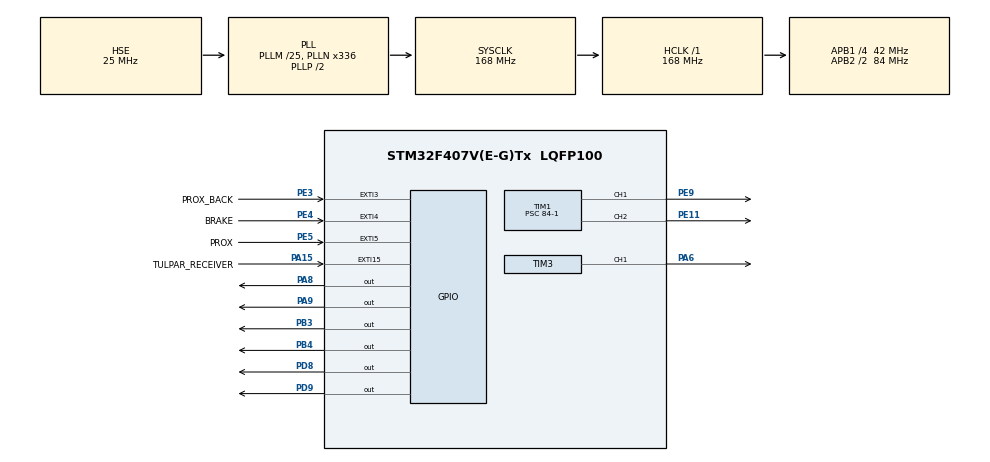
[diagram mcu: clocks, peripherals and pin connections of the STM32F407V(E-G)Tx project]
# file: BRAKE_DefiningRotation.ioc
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Mcu.Family=STM32F4
Mcu.Name=STM32F407V(E-G)Tx
Mcu.Package=LQFP100
NVIC.EXTI15_10_IRQn=true\:0\:0\:false\:false\:true\:true\:true\:true
NVIC.EXTI3_IRQn=true\:0\:0\:false\:false\:true\:true\:true\:true
NVIC.EXTI4_IRQn=true\:0\:0\:false\:false\:true\:true\:true\:true
NVIC.EXTI9_5_IRQn=true\:0\:0\:false\:false\:true\:true\:true\:true
NVIC.PriorityGroup=NVIC_PRIORITYGROUP_4
NVIC.RCC_IRQn=true\:0\:0\:false\:false\:true\:true\:false\:true
PA13.Mode=Serial_Wire
PA13.Signal=SYS_JTMS-SWDIO
PA14.Mode=Serial_Wire
PA14.Signal=SYS_JTCK-SWCLK
PA15.GPIO_Label=TULPAR_RECEIVER
PA15.GPIO_ModeDefaultEXTI=GPIO_MODE_IT_RISING_FALLING
PA15.GPIO_PuPd=GPIO_PULLUP
PA15.Signal=GPXTI15
PA6.Signal=S_TIM3_CH1
PA8.Signal=GPIO_Output
PA9.Signal=GPIO_Output
PB3.Signal=GPIO_Output
PB4.Signal=GPIO_Output
PC14-OSC32_IN.Mode=LSE-External-Oscillator
PC14-OSC32_IN.Signal=RCC_OSC32_IN
PC15-OSC32_OUT.Mode=LSE-External-Oscillator
PC15-OSC32_OUT.Signal=RCC_OSC32_OUT
PD8.Signal=GPIO_Output
PD9.Signal=GPIO_Output
PE11.Signal=S_TIM1_CH2
PE3.GPIO_Label=PROX_BACK
PE3.GPIO_ModeDefaultEXTI=GPIO_MODE_IT_RISING_FALLING
PE3.Signal=GPXTI3
PE4.GPIO_Label=BRAKE
PE4.GPIO_ModeDefaultEXTI=GPIO_MODE_IT_RISING_FALLING
PE4.GPIO_PuPd=GPIO_PULLUP
PE4.Signal=GPXTI4
PE5.GPIO_Label=PROX
PE5.GPIO_ModeDefaultEXTI=GPIO_MODE_IT_RISING_FALLING
PE5.Signal=GPXTI5
PE9.Signal=S_TIM1_CH1
PH0-OSC_IN.Mode=HSE-External-Oscillator
PH0-OSC_IN.Signal=RCC_OSC_IN
PH1-OSC_OUT.Mode=HSE-External-Oscillator
PH1-OSC_OUT.Signal=RCC_OSC_OUT
ProjectManager.HeapSize=0x200
ProjectManager.StackSize=0x400
ProjectManager.TargetToolchain=STM32CubeIDE
RCC.48MHZClocksFreq_Value=84000000
RCC.AHBFreq_Value=168000000
RCC.APB1CLKDivider=RCC_HCLK_DIV4
RCC.APB1Freq_Value=42000000
RCC.APB1TimFreq_Value=84000000
RCC.APB2CLKDivider=RCC_HCLK_DIV2
RCC.APB2Freq_Value=84000000
RCC.APB2TimFreq_Value=168000000
RCC.CortexFreq_Value=168000000
RCC.HCLKFreq_Value=168000000
RCC.HSE_VALUE=25000000
RCC.HSI_VALUE=16000000
RCC.PLLM=25
RCC.PLLN=336
RCC.PLLSourceVirtual=RCC_PLLSOURCE_HSE
RCC.SYSCLKFreq_VALUE=168000000
RCC.SYSCLKSource=RCC_SYSCLKSOURCE_PLLCLK
RCC.VCOOutputFreq_Value=336000000
SH.S_TIM1_CH1.0=TIM1_CH1,PWM Generation1 CH1
SH.S_TIM1_CH2.0=TIM1_CH2,PWM Generation2 CH2
SH.S_TIM3_CH1.0=TIM3_CH1,PWM Generation1 CH1
TIM1.Channel-PWM\ Generation1\ CH1=TIM_CHANNEL_1
TIM1.Channel-PWM\ Generation2\ CH2=TIM_CHANNEL_2
TIM1.Period=125-1
TIM1.Prescaler=84-1
TIM3.Channel-PWM\ Generation1\ CH1=TIM_CHANNEL_1
TIM3.Period=255-1
TIM3.Prescaler=20-1
VP_TIM1_VS_ClockSourceINT.Mode=Internal
VP_TIM2_VS_ClockSourceINT.Mode=Internal
VP_TIM3_VS_ClockSourceINT.Mode=Internal
VP_TIM4_VS_ClockSourceINT.Mode=Internal
VP_TIM5_VS_ClockSourceINT.Mode=Internal
board=custom

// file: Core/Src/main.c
/* USER CODE BEGIN Header */
/**
  ******************************************************************************
  * @file           : main.c
  * @brief          : Main program body
  ******************************************************************************
  * @attention
  *
  * Copyright (c) 2024 STMicroelectronics.
  * All rights reserved.
  *
  * This software is licensed under terms that can be found in the LICENSE file
  * in the root directory of this software component.
  * If no LICENSE file comes with this software, it is provided AS-IS.
  *
  ******************************************************************************
  */
/* USER CODE END Header */
#include "main.h"

TIM_HandleTypeDef htim1;
TIM_HandleTypeDef htim2;
TIM_HandleTypeDef htim3;
TIM_HandleTypeDef htim4;
TIM_HandleTypeDef htim5;

void SystemClock_Config(void);
static void MX_GPIO_Init(void);
static void MX_TIM1_Init(void);
static void MX_TIM3_Init(void);
static void MX_TIM2_Init(void);
static void MX_TIM5_Init(void);
static void MX_TIM4_Init(void);

/* USER CODE BEGIN 0 */
extern volatile uint32_t starttime;
extern volatile uint32_t endtime;
extern volatile uint32_t pulsewidth;
extern volatile uint32_t count;
extern volatile uint32_t command;
extern volatile uint16_t falling_detected;
uint32_t counter = 0;
extern volatile uint32_t signal;
extern volatile uint32_t falling_detected2;

extern volatile uint32_t starttime1;
extern volatile uint32_t endtime1;
extern volatile uint32_t pulsewidth1;
extern volatile uint32_t count1;
extern volatile int32_t dutycycle0;
extern volatile int32_t dutycycle1;
extern volatile int32_t dutycycle2;
volatile uint32_t  dutycyclenew1=0;
volatile uint32_t  dutycyclenew2=0;
volatile int AA=0;
volatile uint32_t pompa=0;
volatile uint32_t duty1=60;
volatile uint32_t duty2=60;

void motor_fonksiyonu(){

	 	if(dutycycle0<6298)// if the number that taken from remote controller is smaller than  6298
	 		{
	 			HAL_GPIO_WritePin(GPIOD, GPIO_PIN_9, ENABLE); //REWERSE ON
	 			HAL_GPIO_WritePin(GPIOD, GPIO_PIN_8, DISABLE);
	 			__HAL_TIM_SET_COMPARE(&htim3 ,TIM_CHANNEL_1,dutycyclenew1);
	 			counter++;
	 		}

	 	if(dutycycle0>6298)// if the number that taken from remote controller is bigger than  6298
	 		{
	 			HAL_GPIO_WritePin(GPIOD, GPIO_PIN_9, DISABLE);
	 			HAL_GPIO_WritePin(GPIOD, GPIO_PIN_8, ENABLE); //FORWARD ON
	 			__HAL_TIM_SET_COMPARE(&htim3,TIM_CHANNEL_1,dutycyclenew2);
	 			counter--;
	 		}
	 	if(dutycycle0==6298)// if the number that taken from remote controller is equal 6298
	 	{
	 		HAL_GPIO_WritePin(GPIOD, GPIO_PIN_9, DISABLE);// STOP
	 		 HAL_GPIO_WritePin(GPIOD, GPIO_PIN_8, DISABLE);
	 		__HAL_TIM_SET_COMPARE(&htim3,TIM_CHANNEL_1,dutycyclenew1);
		}
}

/* USER CODE END 0 */

int main(void)
{

  /* MCU Configuration--------------------------------------------------------*/

  /* Reset of all peripherals, Initializes the Flash interface and the Systick. */
  HAL_Init();

  /* Configure the system clock */
  SystemClock_Config();

  /* Initialize all configured peripherals */
  MX_GPIO_Init();
  MX_TIM1_Init();
  MX_TIM3_Init();
  MX_TIM2_Init();
  MX_TIM5_Init();
  MX_TIM4_Init();
  /* USER CODE BEGIN 2 */
HAL_TIM_Base_Start(&htim2);
HAL_TIM_Base_Start(&htim5);
HAL_TIM_PWM_Start(&htim1, TIM_CHANNEL_1);
HAL_TIM_PWM_Start(&htim1, TIM_CHANNEL_2);
HAL_TIM_PWM_Start(&htim3, TIM_CHANNEL_1);
HAL_GPIO_WritePin(GPIOB, GPIO_PIN_4, ENABLE);//enables the  brake driver
HAL_GPIO_WritePin(GPIOB, GPIO_PIN_3, ENABLE);//enables the  brake driver
HAL_GPIO_WritePin(GPIOD, GPIO_PIN_8,DISABLE);// TULPAR FORWARD ENABLE
HAL_GPIO_WritePin(GPIOD, GPIO_PIN_9,DISABLE);// TULPAR REVERSE ENABLE

  /* USER CODE END 2 */

  /* Infinite loop */
  while (1)
  {

    /* USER CODE BEGIN 3 */

		motor_fonksiyonu();
		AA=__HAL_TIM_GET_COMPARE(&htim3,TIM_CHANNEL_1);

		if(signal == 1){

				if(falling_detected==1){//if proximity reads an metal object
					while(1){

						__HAL_TIM_SET_COMPARE(&htim1, TIM_CHANNEL_1, 0);
						__HAL_TIM_SET_COMPARE(&htim1, TIM_CHANNEL_2, 0);
						AA=__HAL_TIM_GET_COMPARE(&htim3,TIM_CHANNEL_1);

						motor_fonksiyonu();

						if(signal != 1||falling_detected2==0){
							break;
						}
					}
				}

				__HAL_TIM_SET_COMPARE(&htim1, TIM_CHANNEL_1, 0);
				 __HAL_TIM_SET_COMPARE(&htim1, TIM_CHANNEL_2, duty1);
				 motor_fonksiyonu();
		}

		if(signal == 0){

				if(falling_detected2==1){
					while(1){
						__HAL_TIM_SET_COMPARE(&htim1, TIM_CHANNEL_1, 0);
						__HAL_TIM_SET_COMPARE(&htim1, TIM_CHANNEL_2, 0);
						AA=__HAL_TIM_GET_COMPARE(&htim3,TIM_CHANNEL_1);
						motor_fonksiyonu();

							if(signal != 0||falling_detected==0){
								pompa=0;
								break;
							}
						}
				}

				__HAL_TIM_SET_COMPARE(&htim1, TIM_CHANNEL_1, duty2);
				__HAL_TIM_SET_COMPARE(&htim1, TIM_CHANNEL_2, 0);
				motor_fonksiyonu();
		}

  }

  /* USER CODE END 3 */
}

void SystemClock_Config(void)
{
  RCC_OscInitTypeDef RCC_OscInitStruct = {0};
  RCC_ClkInitTypeDef RCC_ClkInitStruct = {0};

  /** Configure the main internal regulator output voltage
  */
  __HAL_RCC_PWR_CLK_ENABLE();
  __HAL_PWR_VOLTAGESCALING_CONFIG(PWR_REGULATOR_VOLTAGE_SCALE1);

  /** Initializes the RCC Oscillators according to the specified parameters
  * in the RCC_OscInitTypeDef structure.
  */
  RCC_OscInitStruct.OscillatorType = RCC_OSCILLATORTYPE_HSE;
  RCC_OscInitStruct.HSEState = RCC_HSE_ON;
  RCC_OscInitStruct.PLL.PLLState = RCC_PLL_ON;
  RCC_OscInitStruct.PLL.PLLSource = RCC_PLLSOURCE_HSE;
  RCC_OscInitStruct.PLL.PLLM = 25;
  RCC_OscInitStruct.PLL.PLLN = 336;
  RCC_OscInitStruct.PLL.PLLP = RCC_PLLP_DIV2;
  RCC_OscInitStruct.PLL.PLLQ = 4;
  if (HAL_RCC_OscConfig(&RCC_OscInitStruct) != HAL_OK)
  {
    Error_Handler();
  }

  /** Initializes the CPU, AHB and APB buses clocks
  */
  RCC_ClkInitStruct.ClockType = RCC_CLOCKTYPE_HCLK|RCC_CLOCKTYPE_SYSCLK
                              |RCC_CLOCKTYPE_PCLK1|RCC_CLOCKTYPE_PCLK2;
  RCC_ClkInitStruct.SYSCLKSource = RCC_SYSCLKSOURCE_PLLCLK;
  RCC_ClkInitStruct.AHBCLKDivider = RCC_SYSCLK_DIV1;
  RCC_ClkInitStruct.APB1CLKDivider = RCC_HCLK_DIV4;
  RCC_ClkInitStruct.APB2CLKDivider = RCC_HCLK_DIV2;

  if (HAL_RCC_ClockConfig(&RCC_ClkInitStruct, FLASH_LATENCY_5) != HAL_OK)
  {
    Error_Handler();
  }
}

static void MX_TIM1_Init(void)
{

  TIM_ClockConfigTypeDef sClockSourceConfig = {0};
  TIM_MasterConfigTypeDef sMasterConfig = {0};
  TIM_OC_InitTypeDef sConfigOC = {0};
  TIM_BreakDeadTimeConfigTypeDef sBreakDeadTimeConfig = {0};

  htim1.Instance = TIM1;
  htim1.Init.Prescaler = 84-1;
  htim1.Init.CounterMode = TIM_COUNTERMODE_UP;
  htim1.Init.Period = 125-1;
  htim1.Init.ClockDivision = TIM_CLOCKDIVISION_DIV1;
  htim1.Init.RepetitionCounter = 0;
  htim1.Init.AutoReloadPreload = TIM_AUTORELOAD_PRELOAD_DISABLE;
  if (HAL_TIM_Base_Init(&htim1) != HAL_OK)
  {
    Error_Handler();
  }
  sClockSourceConfig.ClockSource = TIM_CLOCKSOURCE_INTERNAL;
  if (HAL_TIM_ConfigClockSource(&htim1, &sClockSourceConfig) != HAL_OK)
  {
    Error_Handler();
  }
  if (HAL_TIM_PWM_Init(&htim1) != HAL_OK)
  {
    Error_Handler();
  }
  sMasterConfig.MasterOutputTrigger = TIM_TRGO_RESET;
  sMasterConfig.MasterSlaveMode = TIM_MASTERSLAVEMODE_DISABLE;
  if (HAL_TIMEx_MasterConfigSynchronization(&htim1, &sMasterConfig) != HAL_OK)
  {
    Error_Handler();
  }
  sConfigOC.OCMode = TIM_OCMODE_PWM1;
  sConfigOC.Pulse = 0;
  sConfigOC.OCPolarity = TIM_OCPOLARITY_HIGH;
  sConfigOC.OCNPolarity = TIM_OCNPOLARITY_HIGH;
  sConfigOC.OCFastMode = TIM_OCFAST_DISABLE;
  sConfigOC.OCIdleState = TIM_OCIDLESTATE_RESET;
  sConfigOC.OCNIdleState = TIM_OCNIDLESTATE_RESET;
  if (HAL_TIM_PWM_ConfigChannel(&htim1, &sConfigOC, TIM_CHANNEL_1) != HAL_OK)
  {
    Error_Handler();
  }
  if (HAL_TIM_PWM_ConfigChannel(&htim1, &sConfigOC, TIM_CHANNEL_2) != HAL_OK)
  {
    Error_Handler();
  }
  sBreakDeadTimeConfig.OffStateRunMode = TIM_OSSR_DISABLE;
  sBreakDeadTimeConfig.OffStateIDLEMode = TIM_OSSI_DISABLE;
  sBreakDeadTimeConfig.LockLevel = TIM_LOCKLEVEL_OFF;
  sBreakDeadTimeConfig.DeadTime = 0;
  sBreakDeadTimeConfig.BreakState = TIM_BREAK_DISABLE;
  sBreakDeadTimeConfig.BreakPolarity = TIM_BREAKPOLARITY_HIGH;
  sBreakDeadTimeConfig.AutomaticOutput = TIM_AUTOMATICOUTPUT_DISABLE;
  if (HAL_TIMEx_ConfigBreakDeadTime(&htim1, &sBreakDeadTimeConfig) != HAL_OK)
  {
    Error_Handler();
  }
  HAL_TIM_MspPostInit(&htim1);

}

static void MX_TIM2_Init(void)
{

  TIM_ClockConfigTypeDef sClockSourceConfig = {0};
  TIM_MasterConfigTypeDef sMasterConfig = {0};

  htim2.Instance = TIM2;
  htim2.Init.Prescaler = 0;
  htim2.Init.CounterMode = TIM_COUNTERMODE_UP;
  htim2.Init.Period = 4294967295;
  htim2.Init.ClockDivision = TIM_CLOCKDIVISION_DIV1;
  htim2.Init.AutoReloadPreload = TIM_AUTORELOAD_PRELOAD_DISABLE;
  if (HAL_TIM_Base_Init(&htim2) != HAL_OK)
  {
    Error_Handler();
  }
  sClockSourceConfig.ClockSource = TIM_CLOCKSOURCE_INTERNAL;
  if (HAL_TIM_ConfigClockSource(&htim2, &sClockSourceConfig) != HAL_OK)
  {
    Error_Handler();
  }
  sMasterConfig.MasterOutputTrigger = TIM_TRGO_RESET;
  sMasterConfig.MasterSlaveMode = TIM_MASTERSLAVEMODE_DISABLE;
  if (HAL_TIMEx_MasterConfigSynchronization(&htim2, &sMasterConfig) != HAL_OK)
  {
    Error_Handler();
  }

}

static void MX_TIM3_Init(void)
{

  TIM_ClockConfigTypeDef sClockSourceConfig = {0};
  TIM_MasterConfigTypeDef sMasterConfig = {0};
  TIM_OC_InitTypeDef sConfigOC = {0};

  htim3.Instance = TIM3;
  htim3.Init.Prescaler = 20-1;
  htim3.Init.CounterMode = TIM_COUNTERMODE_UP;
  htim3.Init.Period = 255-1;
  htim3.Init.ClockDivision = TIM_CLOCKDIVISION_DIV1;
  htim3.Init.AutoReloadPreload = TIM_AUTORELOAD_PRELOAD_DISABLE;
  if (HAL_TIM_Base_Init(&htim3) != HAL_OK)
  {
    Error_Handler();
  }
  sClockSourceConfig.ClockSource = TIM_CLOCKSOURCE_INTERNAL;
  if (HAL_TIM_ConfigClockSource(&htim3, &sClockSourceConfig) != HAL_OK)
  {
    Error_Handler();
  }
  if (HAL_TIM_PWM_Init(&htim3) != HAL_OK)
  {
    Error_Handler();
  }
  sMasterConfig.MasterOutputTrigger = TIM_TRGO_RESET;
  sMasterConfig.MasterSlaveMode = TIM_MASTERSLAVEMODE_DISABLE;
  if (HAL_TIMEx_MasterConfigSynchronization(&htim3, &sMasterConfig) != HAL_OK)
  {
    Error_Handler();
  }
  sConfigOC.OCMode = TIM_OCMODE_PWM1;
  sConfigOC.Pulse = 0;
  sConfigOC.OCPolarity = TIM_OCPOLARITY_HIGH;
  sConfigOC.OCFastMode = TIM_OCFAST_DISABLE;
  if (HAL_TIM_PWM_ConfigChannel(&htim3, &sConfigOC, TIM_CHANNEL_1) != HAL_OK)
  {
    Error_Handler();
  }
  HAL_TIM_MspPostInit(&htim3);

}

static void MX_TIM4_Init(void)
{

  TIM_ClockConfigTypeDef sClockSourceConfig = {0};
  TIM_MasterConfigTypeDef sMasterConfig = {0};

  htim4.Instance = TIM4;
  htim4.Init.Prescaler = 0;
  htim4.Init.CounterMode = TIM_COUNTERMODE_UP;
  htim4.Init.Period = 65535;
  htim4.Init.ClockDivision = TIM_CLOCKDIVISION_DIV1;
  htim4.Init.AutoReloadPreload = TIM_AUTORELOAD_PRELOAD_DISABLE;
  if (HAL_TIM_Base_Init(&htim4) != HAL_OK)
  {
    Error_Handler();
  }
  sClockSourceConfig.ClockSource = TIM_CLOCKSOURCE_INTERNAL;
  if (HAL_TIM_ConfigClockSource(&htim4, &sClockSourceConfig) != HAL_OK)
  {
    Error_Handler();
  }
  sMasterConfig.MasterOutputTrigger = TIM_TRGO_RESET;
  sMasterConfig.MasterSlaveMode = TIM_MASTERSLAVEMODE_DISABLE;
  if (HAL_TIMEx_MasterConfigSynchronization(&htim4, &sMasterConfig) != HAL_OK)
  {
    Error_Handler();
  }

}

static void MX_TIM5_Init(void)
{

  TIM_ClockConfigTypeDef sClockSourceConfig = {0};
  TIM_MasterConfigTypeDef sMasterConfig = {0};

  htim5.Instance = TIM5;
  htim5.Init.Prescaler = 0;
  htim5.Init.CounterMode = TIM_COUNTERMODE_UP;
  htim5.Init.Period = 4294967295;
  htim5.Init.ClockDivision = TIM_CLOCKDIVISION_DIV1;
  htim5.Init.AutoReloadPreload = TIM_AUTORELOAD_PRELOAD_DISABLE;
  if (HAL_TIM_Base_Init(&htim5) != HAL_OK)
  {
    Error_Handler();
  }
  sClockSourceConfig.ClockSource = TIM_CLOCKSOURCE_INTERNAL;
  if (HAL_TIM_ConfigClockSource(&htim5, &sClockSourceConfig) != HAL_OK)
  {
    Error_Handler();
  }
  sMasterConfig.MasterOutputTrigger = TIM_TRGO_RESET;
  sMasterConfig.MasterSlaveMode = TIM_MASTERSLAVEMODE_DISABLE;
  if (HAL_TIMEx_MasterConfigSynchronization(&htim5, &sMasterConfig) != HAL_OK)
  {
    Error_Handler();
  }

}

static void MX_GPIO_Init(void)
{
  GPIO_InitTypeDef GPIO_InitStruct = {0};

  /* GPIO Ports Clock Enable */
  __HAL_RCC_GPIOE_CLK_ENABLE();
  __HAL_RCC_GPIOC_CLK_ENABLE();
  __HAL_RCC_GPIOH_CLK_ENABLE();
  __HAL_RCC_GPIOA_CLK_ENABLE();
  __HAL_RCC_GPIOD_CLK_ENABLE();
  __HAL_RCC_GPIOB_CLK_ENABLE();

  /*Configure GPIO pin Output Level */
  HAL_GPIO_WritePin(GPIOD, GPIO_PIN_8|GPIO_PIN_9, GPIO_PIN_RESET);

  /*Configure GPIO pin Output Level */
  HAL_GPIO_WritePin(GPIOA, GPIO_PIN_8|GPIO_PIN_9, GPIO_PIN_RESET);

  /*Configure GPIO pin Output Level */
  HAL_GPIO_WritePin(GPIOB, GPIO_PIN_3|GPIO_PIN_4, GPIO_PIN_RESET);

  /*Configure GPIO pins : PROX_BACK_Pin PROX_Pin */
  GPIO_InitStruct.Pin = PROX_BACK_Pin|PROX_Pin;
  GPIO_InitStruct.Mode = GPIO_MODE_IT_RISING_FALLING;
  GPIO_InitStruct.Pull = GPIO_NOPULL;
  HAL_GPIO_Init(GPIOE, &GPIO_InitStruct);

  /*Configure GPIO pin : BRAKE_Pin */
  GPIO_InitStruct.Pin = BRAKE_Pin;
  GPIO_InitStruct.Mode = GPIO_MODE_IT_RISING_FALLING;
  GPIO_InitStruct.Pull = GPIO_PULLUP;
  HAL_GPIO_Init(BRAKE_GPIO_Port, &GPIO_InitStruct);

  /*Configure GPIO pins : PD8 PD9 */
  GPIO_InitStruct.Pin = GPIO_PIN_8|GPIO_PIN_9;
  GPIO_InitStruct.Mode = GPIO_MODE_OUTPUT_PP;
  GPIO_InitStruct.Pull = GPIO_NOPULL;
  GPIO_InitStruct.Speed = GPIO_SPEED_FREQ_LOW;
  HAL_GPIO_Init(GPIOD, &GPIO_InitStruct);

  /*Configure GPIO pins : PA8 PA9 */
  GPIO_InitStruct.Pin = GPIO_PIN_8|GPIO_PIN_9;
  GPIO_InitStruct.Mode = GPIO_MODE_OUTPUT_PP;
  GPIO_InitStruct.Pull = GPIO_NOPULL;
  GPIO_InitStruct.Speed = GPIO_SPEED_FREQ_LOW;
  HAL_GPIO_Init(GPIOA, &GPIO_InitStruct);

  /*Configure GPIO pin : TULPAR_RECEIVER_Pin */
  GPIO_InitStruct.Pin = TULPAR_RECEIVER_Pin;
  GPIO_InitStruct.Mode = GPIO_MODE_IT_RISING_FALLING;
  GPIO_InitStruct.Pull = GPIO_PULLUP;
  HAL_GPIO_Init(TULPAR_RECEIVER_GPIO_Port, &GPIO_InitStruct);

  /*Configure GPIO pins : PB3 PB4 */
  GPIO_InitStruct.Pin = GPIO_PIN_3|GPIO_PIN_4;
  GPIO_InitStruct.Mode = GPIO_MODE_OUTPUT_PP;
  GPIO_InitStruct.Pull = GPIO_NOPULL;
  GPIO_InitStruct.Speed = GPIO_SPEED_FREQ_LOW;
  HAL_GPIO_Init(GPIOB, &GPIO_InitStruct);

  /* EXTI interrupt init*/
  HAL_NVIC_SetPriority(EXTI3_IRQn, 0, 0);
  HAL_NVIC_EnableIRQ(EXTI3_IRQn);

  HAL_NVIC_SetPriority(EXTI4_IRQn, 0, 0);
  HAL_NVIC_EnableIRQ(EXTI4_IRQn);

  HAL_NVIC_SetPriority(EXTI9_5_IRQn, 0, 0);
  HAL_NVIC_EnableIRQ(EXTI9_5_IRQn);

  HAL_NVIC_SetPriority(EXTI15_10_IRQn, 0, 0);
  HAL_NVIC_EnableIRQ(EXTI15_10_IRQn);

}

void Error_Handler(void)
{
  __disable_irq();
  while (1)
  {
  }
}
